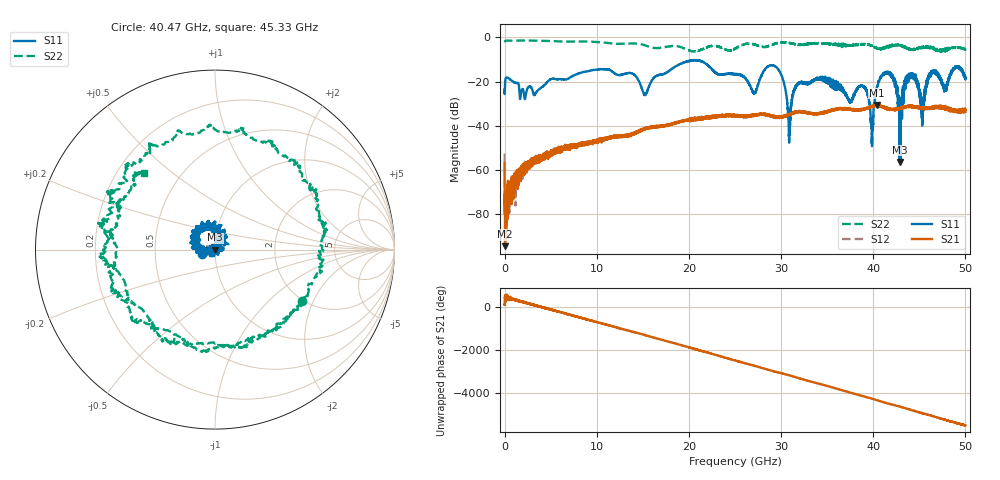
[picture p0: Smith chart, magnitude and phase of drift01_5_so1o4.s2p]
!Created with skrf (http://scikit-rf.org).
# Hz S RI R 50.0
!freq ReS11 ImS11 ReS21 ImS21 ReS12 ImS12 ReS22 ImS22
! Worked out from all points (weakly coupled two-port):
!   10001 points, 300 kHz to 50 GHz, reference 50 ohm
!   highest |S21| = -30.53 dB at 40.37 GHz (marker M1); lowest = -94.5 dB at 55.3 MHz (marker M2)
!   lowest |S11| = -56.4 dB at 42.85 GHz (marker M3), VSWR 1.00, Z = 50.1 - j0.0943 ohm
!   |S11| at or under -10 dB: start of sweep to end of sweep
!   |S22| runs from -6.7 to -1.4 dB; largest |S21 - S12| = 0.0039
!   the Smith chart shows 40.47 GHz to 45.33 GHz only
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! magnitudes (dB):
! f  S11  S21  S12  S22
! 300 kHz  -23.7  -56.9  -52.5  -2.2
! 55.3 MHz  -20.3  -94.5  -89.4  -1.6
! 255.3 MHz  -18.1  -77.4  -78.5  -1.4
! 2.315 GHz  -25.6  -58.5  -57.0  -1.4
! 8.335 GHz  -15.9  -48.3  -48.3  -1.8
! 15.23 GHz  -26.0  -41.3  -41.2  -3.6
! 16.67 GHz  -17.0  -40.3  -40.3  -4.8
! 25 GHz  -16.6  -35.7  -35.5  -5.2
! 27.11 GHz  -25.0  -35.0  -35.4  -3.2
! 29.41 GHz  -13.1  -36.0  -36.2  -2.7
! 30.9 GHz  -44.1  -35.0  -34.9  -2.5
! 31.65 GHz  -21.8  -34.0  -33.8  -3.2
! 33.34 GHz  -20.0  -34.5  -34.3  -2.7
! 38.92 GHz  -22.2  -32.7  -32.6  -3.0
! 39.83 GHz  -40.0  -31.3  -31.3  -3.8
! 40.37 GHz  -23.3  -30.5  -30.8  -4.8
! 41.67 GHz  -16.4  -32.1  -32.4  -4.5
! 42.85 GHz  -56.4  -32.2  -32.1  -3.6
! 44.07 GHz  -18.0  -31.1  -31.4  -5.3
! 45.3 GHz  -33.2  -31.9  -31.9  -4.5
! 46.42 GHz  -16.2  -32.0  -32.0  -4.8
! 50 GHz  -17.9  -33.7  -32.4  -5.4
